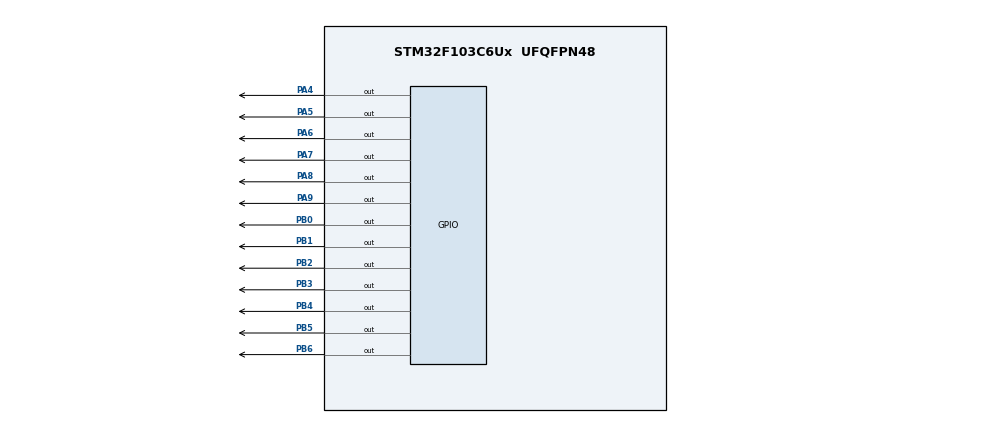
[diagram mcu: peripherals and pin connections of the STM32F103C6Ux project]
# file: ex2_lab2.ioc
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Mcu.Family=STM32F1
Mcu.Name=STM32F103C6Ux
Mcu.Package=UFQFPN48
NVIC.PriorityGroup=NVIC_PRIORITYGROUP_4
NVIC.TIM2_IRQn=true\:0\:0\:false\:false\:true\:true\:true
PA4.Signal=GPIO_Output
PA5.Signal=GPIO_Output
PA6.Signal=GPIO_Output
PA7.Signal=GPIO_Output
PA8.Signal=GPIO_Output
PA9.Signal=GPIO_Output
PB0.Signal=GPIO_Output
PB1.Signal=GPIO_Output
PB2.Signal=GPIO_Output
PB3.Signal=GPIO_Output
PB4.Signal=GPIO_Output
PB5.Signal=GPIO_Output
PB6.Signal=GPIO_Output
ProjectManager.HeapSize=0x200
ProjectManager.StackSize=0x400
ProjectManager.TargetToolchain=STM32CubeIDE
RCC.APB1Freq_Value=8000000
RCC.APB2Freq_Value=8000000
TIM2.Period=9
TIM2.Prescaler=7999
VP_SYS_VS_ND.Mode=No_Debug
VP_TIM2_VS_ClockSourceINT.Mode=Internal
board=custom

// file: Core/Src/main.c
/* USER CODE BEGIN Header */
/**
  ******************************************************************************
  * @file           : main.c
  * @brief          : Main program body
  ******************************************************************************
  * @attention
  *
  * <h2><center>&copy; Copyright (c) 2023 STMicroelectronics.
  * All rights reserved.</center></h2>
  *
  * This software component is licensed by ST under BSD 3-Clause license,
  * the "License"; You may not use this file except in compliance with the
  * License. You may obtain a copy of the License at:
  *                        opensource.org/licenses/BSD-3-Clause
  *
  ******************************************************************************
  */
/* USER CODE END Header */
#include "main.h"

TIM_HandleTypeDef htim2;

void SystemClock_Config(void);
static void MX_GPIO_Init(void);
static void MX_TIM2_Init(void);
void display7SEG(int num);

int main(void)
{

  /* MCU Configuration--------------------------------------------------------*/

  /* Reset of all peripherals, Initializes the Flash interface and the Systick. */
  HAL_Init();

  /* Configure the system clock */
  SystemClock_Config();

  /* Initialize all configured peripherals */
  MX_GPIO_Init();
  MX_TIM2_Init();
  /* USER CODE BEGIN 2 */
HAL_TIM_Base_Start_IT(&htim2);
  /* USER CODE END 2 */

  /* Infinite loop */
  while (1)
  {

  }
}

void SystemClock_Config(void)
{
  RCC_OscInitTypeDef RCC_OscInitStruct = {0};
  RCC_ClkInitTypeDef RCC_ClkInitStruct = {0};

  /** Initializes the RCC Oscillators according to the specified parameters
  * in the RCC_OscInitTypeDef structure.
  */
  RCC_OscInitStruct.OscillatorType = RCC_OSCILLATORTYPE_HSI;
  RCC_OscInitStruct.HSIState = RCC_HSI_ON;
  RCC_OscInitStruct.HSICalibrationValue = RCC_HSICALIBRATION_DEFAULT;
  RCC_OscInitStruct.PLL.PLLState = RCC_PLL_NONE;
  if (HAL_RCC_OscConfig(&RCC_OscInitStruct) != HAL_OK)
  {
    Error_Handler();
  }
  /** Initializes the CPU, AHB and APB buses clocks
  */
  RCC_ClkInitStruct.ClockType = RCC_CLOCKTYPE_HCLK|RCC_CLOCKTYPE_SYSCLK
                              |RCC_CLOCKTYPE_PCLK1|RCC_CLOCKTYPE_PCLK2;
  RCC_ClkInitStruct.SYSCLKSource = RCC_SYSCLKSOURCE_HSI;
  RCC_ClkInitStruct.AHBCLKDivider = RCC_SYSCLK_DIV1;
  RCC_ClkInitStruct.APB1CLKDivider = RCC_HCLK_DIV1;
  RCC_ClkInitStruct.APB2CLKDivider = RCC_HCLK_DIV1;

  if (HAL_RCC_ClockConfig(&RCC_ClkInitStruct, FLASH_LATENCY_0) != HAL_OK)
  {
    Error_Handler();
  }
}

static void MX_TIM2_Init(void)
{

  TIM_ClockConfigTypeDef sClockSourceConfig = {0};
  TIM_MasterConfigTypeDef sMasterConfig = {0};

  htim2.Instance = TIM2;
  htim2.Init.Prescaler = 7999;
  htim2.Init.CounterMode = TIM_COUNTERMODE_UP;
  htim2.Init.Period = 9;
  htim2.Init.ClockDivision = TIM_CLOCKDIVISION_DIV1;
  htim2.Init.AutoReloadPreload = TIM_AUTORELOAD_PRELOAD_DISABLE;
  if (HAL_TIM_Base_Init(&htim2) != HAL_OK)
  {
    Error_Handler();
  }
  sClockSourceConfig.ClockSource = TIM_CLOCKSOURCE_INTERNAL;
  if (HAL_TIM_ConfigClockSource(&htim2, &sClockSourceConfig) != HAL_OK)
  {
    Error_Handler();
  }
  sMasterConfig.MasterOutputTrigger = TIM_TRGO_RESET;
  sMasterConfig.MasterSlaveMode = TIM_MASTERSLAVEMODE_DISABLE;
  if (HAL_TIMEx_MasterConfigSynchronization(&htim2, &sMasterConfig) != HAL_OK)
  {
    Error_Handler();
  }

}

static void MX_GPIO_Init(void)
{
  GPIO_InitTypeDef GPIO_InitStruct = {0};

  /* GPIO Ports Clock Enable */
  __HAL_RCC_GPIOA_CLK_ENABLE();
  __HAL_RCC_GPIOB_CLK_ENABLE();

  /*Configure GPIO pin Output Level */
  HAL_GPIO_WritePin(GPIOA, GPIO_PIN_4|GPIO_PIN_5|GPIO_PIN_6|GPIO_PIN_7
                          |GPIO_PIN_8|GPIO_PIN_9, GPIO_PIN_RESET);

  /*Configure GPIO pin Output Level */
  HAL_GPIO_WritePin(GPIOB, GPIO_PIN_0|GPIO_PIN_1|GPIO_PIN_2|GPIO_PIN_3
                          |GPIO_PIN_4|GPIO_PIN_5|GPIO_PIN_6, GPIO_PIN_RESET);

  /*Configure GPIO pins : PA4 PA5 PA6 PA7
                           PA8 PA9 */
  GPIO_InitStruct.Pin = GPIO_PIN_4|GPIO_PIN_5|GPIO_PIN_6|GPIO_PIN_7
                          |GPIO_PIN_8|GPIO_PIN_9;
  GPIO_InitStruct.Mode = GPIO_MODE_OUTPUT_PP;
  GPIO_InitStruct.Pull = GPIO_NOPULL;
  GPIO_InitStruct.Speed = GPIO_SPEED_FREQ_LOW;
  HAL_GPIO_Init(GPIOA, &GPIO_InitStruct);

  /*Configure GPIO pins : PB0 PB1 PB2 PB3
                           PB4 PB5 PB6 */
  GPIO_InitStruct.Pin = GPIO_PIN_0|GPIO_PIN_1|GPIO_PIN_2|GPIO_PIN_3
                          |GPIO_PIN_4|GPIO_PIN_5|GPIO_PIN_6;
  GPIO_InitStruct.Mode = GPIO_MODE_OUTPUT_PP;
  GPIO_InitStruct.Pull = GPIO_NOPULL;
  GPIO_InitStruct.Speed = GPIO_SPEED_FREQ_LOW;
  HAL_GPIO_Init(GPIOB, &GPIO_InitStruct);

}

/* USER CODE BEGIN 4 */
void display7SEG(int num) {
    char led7seg[10] = {0xC0, 0xF9, 0xA4, 0xB0, 0x99, 0x92, 0x82, 0xF8, 0x80, 0x90};
    for (int i = 0; i < 7; i++) {
        HAL_GPIO_WritePin(GPIOB, GPIO_PIN_0 << i, (led7seg[num] >> i) & 1);
    }
}

/* USER CODE BEGIN 4 */
int counter1 = 100;
int counter2 = 50;
int counter3 = 100;
int state = 0;
void HAL_TIM_PeriodElapsedCallback(TIM_HandleTypeDef *htim){
	counter1--;
	if ( counter1 <= 0) {
	counter1 = 100;
	HAL_GPIO_TogglePin(GPIOA, GPIO_PIN_5);
	}
	counter2--;
	if(counter2<=0){
	  counter2 = 50;
	  state++;
	  if(state==5){
		  state=1;
	  }
	  if(state==1) {
		  HAL_GPIO_WritePin(GPIOA, GPIO_PIN_6, 0);
		  HAL_GPIO_WritePin(GPIOA, GPIO_PIN_7, 1);
		  HAL_GPIO_WritePin(GPIOA, GPIO_PIN_8, 1);
		  HAL_GPIO_WritePin(GPIOA, GPIO_PIN_9, 1);
		  display7SEG(1);
	  }
	  else if(state==2) {
		  HAL_GPIO_WritePin(GPIOA, GPIO_PIN_6, 1);
		  HAL_GPIO_WritePin(GPIOA, GPIO_PIN_7, 0);
		  HAL_GPIO_WritePin(GPIOA, GPIO_PIN_8, 1);
		  HAL_GPIO_WritePin(GPIOA, GPIO_PIN_9, 1);
		  display7SEG(2);
	  }
	  else if(state==3) {
		  HAL_GPIO_WritePin(GPIOA, GPIO_PIN_6, 1);
		  HAL_GPIO_WritePin(GPIOA, GPIO_PIN_7, 1);
		  HAL_GPIO_WritePin(GPIOA, GPIO_PIN_8, 0);
		  HAL_GPIO_WritePin(GPIOA, GPIO_PIN_9, 1);
		  display7SEG(3);
	 	  }
	  else if(state==4) {
		  HAL_GPIO_WritePin(GPIOA, GPIO_PIN_6, 1);
		  HAL_GPIO_WritePin(GPIOA, GPIO_PIN_7, 1);
		  HAL_GPIO_WritePin(GPIOA, GPIO_PIN_8, 1);
		  HAL_GPIO_WritePin(GPIOA, GPIO_PIN_9, 0);
		  display7SEG(0);
	 	  }
	}
	counter3--;
	if(counter3<=0){
		counter3=100;
		HAL_GPIO_TogglePin(GPIOA, GPIO_PIN_4);
	}
}

/* USER CODE END 4 */

void Error_Handler(void)
{
  __disable_irq();
  while (1)
  {
  }
}

/************************ (C) COPYRIGHT STMicroelectronics *****END OF FILE****/
